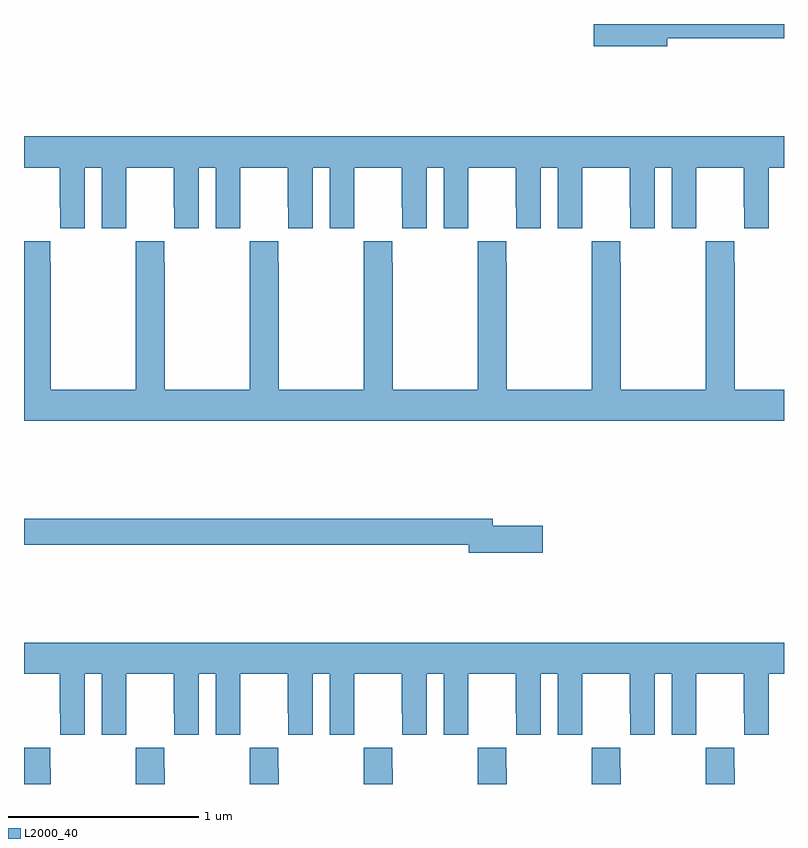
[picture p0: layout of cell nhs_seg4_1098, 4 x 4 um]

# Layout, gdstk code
import gdstk
lib = gdstk.Library(unit=1e-6, precision=1e-09)
def P(c, l, *ps):  # polygons
    for p in ps: c.add(gdstk.Polygon(p, *l))
L2000_40 = (2000, 40)

nhs_seg4_1098 = lib.new_cell('nhs_seg4_1098')
P(nhs_seg4_1098, L2000_40, [(170.386,806.824),(171,806.824),(171,806.9),(169.998,806.9),(169.998,806.782),(170.386,806.782)],
  [(167,806.144),(167.189,806.144),(167.189,805.936),(167.19,805.936),(167.19,805.824),(167.32,805.824),(167.32,806.144),(167.408,806.144),(167.408,805.824),(167.538,805.824),(167.538,805.936),(167.539,805.936),(167.539,806.144),(167.789,806.144),(167.789,805.936),(167.79,805.936),(167.79,805.824),(167.92,805.824),(167.92,806.144),(168.008,806.144),(168.008,805.824),(168.138,805.824),(168.138,805.936),(168.139,805.936),(168.139,806.144),(168.389,806.144),(168.389,805.936),(168.39,805.936),(168.39,805.824),(168.52,805.824),(168.52,806.144),(168.608,806.144),(168.608,805.824),(168.738,805.824),(168.738,805.936),(168.739,805.936),(168.739,806.144),(168.989,806.144),(168.989,805.936),(168.99,805.936),(168.99,805.824),(169.12,805.824),(169.12,806.144),(169.208,806.144),(169.208,805.824),(169.338,805.824),(169.338,805.936),(169.339,805.936),(169.339,806.144),(169.589,806.144),(169.589,805.936),(169.59,805.936),(169.59,805.824),(169.72,805.824),(169.72,806.144),(169.808,806.144),(169.808,805.824),(169.938,805.824),(169.938,805.936),(169.939,805.936),(169.939,806.144),(170.189,806.144),(170.189,805.936),(170.19,805.936),(170.19,805.824),(170.32,805.824),(170.32,806.144),(170.408,806.144),(170.408,805.824),(170.538,805.824),(170.538,805.936),(170.539,805.936),(170.539,806.144),(170.789,806.144),(170.789,805.936),(170.79,805.936),(170.79,805.824),(170.92,805.824),(170.92,806.144),(171,806.144),(171,806.308),(167,806.308)],
  [(169.389,805.756),(169.389,805.643),(169.387,805.643),(169.387,804.976),(168.942,804.976),(168.942,805.643),(168.939,805.643),(168.939,805.756),(168.789,805.756),(168.789,805.643),(168.787,805.643),(168.787,804.976),(168.342,804.976),(168.342,805.643),(168.339,805.643),(168.339,805.756),(168.189,805.756),(168.189,805.643),(168.187,805.643),(168.187,804.976),(167.742,804.976),(167.742,805.643),(167.739,805.643),(167.739,805.756),(167.589,805.756),(167.589,805.643),(167.587,805.643),(167.587,804.976),(167.142,804.976),(167.142,805.643),(167.139,805.643),(167.139,805.756),(167,805.756),(167,804.812),(171,804.812),(171,804.976),(170.742,804.976),(170.742,805.643),(170.739,805.643),(170.739,805.756),(170.589,805.756),(170.589,805.643),(170.587,805.643),(170.587,804.976),(170.142,804.976),(170.142,805.643),(170.139,805.643),(170.139,805.756),(169.989,805.756),(169.989,805.643),(169.987,805.643),(169.987,804.976),(169.542,804.976),(169.542,805.643),(169.539,805.643),(169.539,805.756)],
  [(169.729,804.26),(169.468,804.26),(169.468,804.296),(167,804.296),(167,804.16),(169.34,804.16),(169.34,804.118),(169.729,804.118)],
  [(167.32,803.48),(167.408,803.48),(167.408,803.16),(167.538,803.16),(167.538,803.272),(167.539,803.272),(167.539,803.48),(167.789,803.48),(167.789,803.272),(167.79,803.272),(167.79,803.16),(167.92,803.16),(167.92,803.48),(168.008,803.48),(168.008,803.16),(168.138,803.16),(168.138,803.272),(168.139,803.272),(168.139,803.48),(168.389,803.48),(168.389,803.272),(168.39,803.272),(168.39,803.16),(168.52,803.16),(168.52,803.48),(168.608,803.48),(168.608,803.16),(168.738,803.16),(168.738,803.272),(168.739,803.272),(168.739,803.48),(168.989,803.48),(168.989,803.272),(168.99,803.272),(168.99,803.16),(169.12,803.16),(169.12,803.48),(169.208,803.48),(169.208,803.16),(169.338,803.16),(169.338,803.272),(169.339,803.272),(169.339,803.48),(169.589,803.48),(169.589,803.272),(169.59,803.272),(169.59,803.16),(169.72,803.16),(169.72,803.48),(169.808,803.48),(169.808,803.16),(169.938,803.16),(169.938,803.272),(169.939,803.272),(169.939,803.48),(170.189,803.48),(170.189,803.272),(170.19,803.272),(170.19,803.16),(170.32,803.16),(170.32,803.48),(170.408,803.48),(170.408,803.16),(170.538,803.16),(170.538,803.272),(170.539,803.272),(170.539,803.48),(170.789,803.48),(170.789,803.272),(170.79,803.272),(170.79,803.16),(170.92,803.16),(170.92,803.48),(171,803.48),(171,803.644),(167,803.644),(167,803.48),(167.189,803.48),(167.189,803.272),(167.19,803.272),(167.19,803.16),(167.32,803.16)],
  [(168.342,802.979),(168.339,802.979),(168.339,803.092),(168.189,803.092),(168.189,802.979),(168.187,802.979),(168.187,802.9),(168.342,802.9)],
  [(168.942,802.979),(168.939,802.979),(168.939,803.092),(168.789,803.092),(168.789,802.979),(168.787,802.979),(168.787,802.9),(168.942,802.9)],
  [(169.542,802.979),(169.539,802.979),(169.539,803.092),(169.389,803.092),(169.389,802.979),(169.387,802.979),(169.387,802.9),(169.542,802.9)],
  [(170.142,802.979),(170.139,802.979),(170.139,803.092),(169.989,803.092),(169.989,802.979),(169.987,802.979),(169.987,802.9),(170.142,802.9)],
  [(170.742,802.979),(170.739,802.979),(170.739,803.092),(170.589,803.092),(170.589,802.979),(170.587,802.979),(170.587,802.9),(170.742,802.9)],
  [(167.742,802.979),(167.739,802.979),(167.739,803.092),(167.589,803.092),(167.589,802.979),(167.587,802.979),(167.587,802.9),(167.742,802.9)],
  [(167.142,802.979),(167.139,802.979),(167.139,803.092),(167,803.092),(167,802.9),(167.142,802.9)])

lib.write_gds('nhs_seg4_1098.gds')
